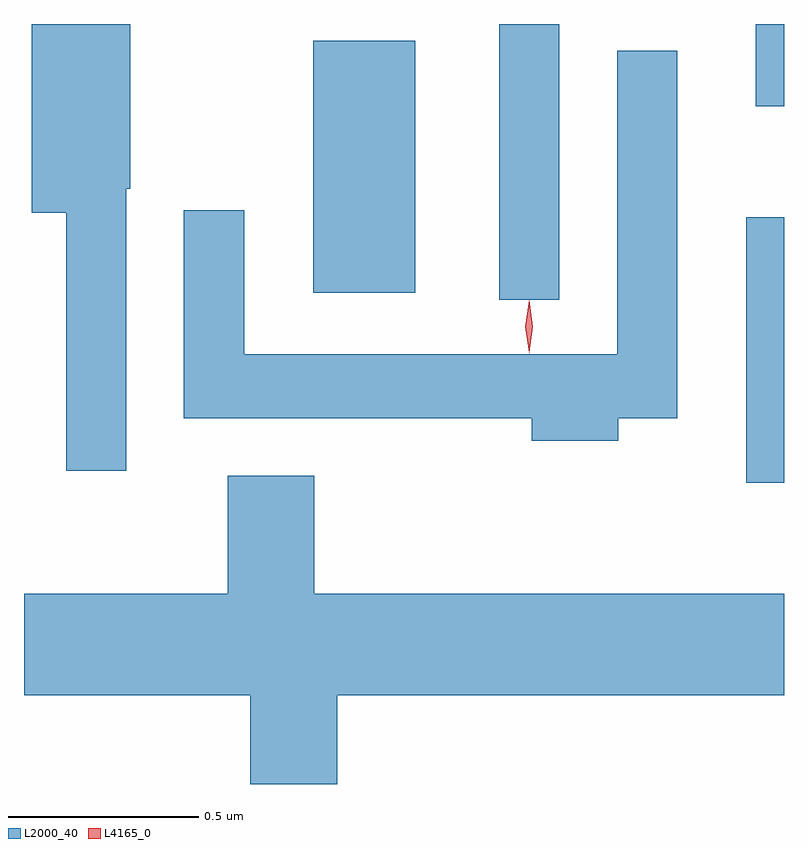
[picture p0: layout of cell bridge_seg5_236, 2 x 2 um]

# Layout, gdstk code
import gdstk
lib = gdstk.Library(unit=1e-6, precision=1e-09)
def R(c, l, rs):  # rectangles x0, y0, x1, y1
    for r in rs: c.add(gdstk.rectangle(r[:2], r[2:], *l))
def P(c, l, *ps):  # polygons
    for p in ps: c.add(gdstk.Polygon(p, *l))
L2000_40 = (2000, 40)
L4165_0 = (4165, 0)

bridge_seg5_236 = lib.new_cell('bridge_seg5_236')
R(bridge_seg5_236, L2000_40, [(1328.256,1428.496,1328.355,1429.194), (1327.606,1428.978,1327.764,1429.703), (1327.116,1428.996,1327.384,1429.659), (1328.281,1429.486,1328.355,1429.703)])
P(bridge_seg5_236, L2000_40, [(1326.624,1429.27),(1326.634,1429.27),(1326.634,1429.703),(1326.376,1429.703),(1326.376,1429.206),(1326.466,1429.206),(1326.466,1428.528),(1326.624,1428.528)],
  [(1327.919,1428.666),(1328.074,1428.666),(1328.074,1429.633),(1327.916,1429.633),(1327.916,1428.834),(1326.934,1428.834),(1326.934,1429.213),(1326.776,1429.213),(1326.776,1428.666),(1327.691,1428.666),(1327.691,1428.606),(1327.919,1428.606)],
  [(1327.179,1427.936),(1328.355,1427.936),(1328.355,1428.204),(1327.119,1428.204),(1327.119,1428.514),(1326.891,1428.514),(1326.891,1428.204),(1326.355,1428.204),(1326.355,1427.936),(1326.951,1427.936),(1326.951,1427.703),(1327.179,1427.703)])
P(bridge_seg5_236, L4165_0, [(1327.684,1428.837),(1327.684,1428.838),(1327.674,1428.906),(1327.684,1428.976),(1327.684,1428.976),(1327.685,1428.976),(1327.694,1428.906),(1327.685,1428.838)],
  [(1327.684,1428.839),(1327.684,1428.84),(1327.674,1428.906),(1327.684,1428.972),(1327.684,1428.973),(1327.685,1428.972),(1327.694,1428.906),(1327.685,1428.84)])

lib.write_gds('bridge_seg5_236.gds')
